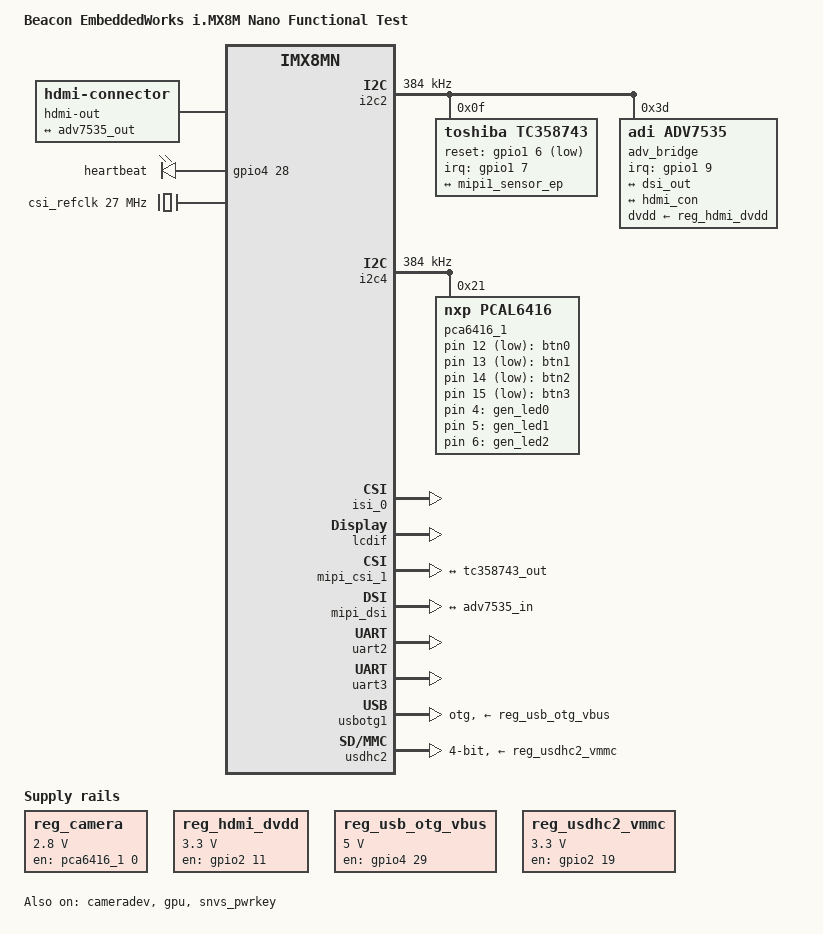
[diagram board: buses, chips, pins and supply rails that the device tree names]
// SPDX-License-Identifier: (GPL-2.0 OR MIT)
/*
 * Copyright 2021 Logic PD, Inc. DBA BeaconEmbeddedWorks
 */

/dts-v1/;

#include "imx8mn.dtsi"
#include "imx8mn-beacon-som.dtsi"

/ {
	model = "Beacon EmbeddedWorks i.MX8M Nano Functional Test";
	compatible = "beacon,imx8mn-beacon-kit", "fsl,imx8mn";

	chosen {
		stdout-path = &uart2;
	};

	gpio-keys {
		compatible = "gpio-keys";
		autorepeat;

		btn0 {
			label = "btn0";
			linux,code = <BTN_0>;
			gpios = <&pca6416_1 12 (GPIO_ACTIVE_LOW | GPIO_PULL_UP)>;
			wakeup-source;
		};

		btn1 {
			label = "btn1";
			linux,code = <BTN_1>;
			gpios = <&pca6416_1 13 (GPIO_ACTIVE_LOW | GPIO_PULL_UP)>;
			wakeup-source;
		};

		btn2 {
			label = "btn2";
			linux,code = <BTN_2>;
			gpios = <&pca6416_1 14 (GPIO_ACTIVE_LOW | GPIO_PULL_UP)>;
			wakeup-source;
		};

		btn3 {
			label = "btn3";
			linux,code = <BTN_3>;
			gpios = <&pca6416_1 15 (GPIO_ACTIVE_LOW | GPIO_PULL_UP)>;
			wakeup-source;
		};
	};

	hdmi-out {
		compatible = "hdmi-connector";
		type = "a";

		port {
			hdmi_con: endpoint {
				remote-endpoint = <&adv7535_out>;
			};
		};
	};

	leds {
		compatible = "gpio-leds";

		led0 {
			label = "gen_led0";
			gpios = <&pca6416_1 4 GPIO_ACTIVE_HIGH>;
			default-state = "off";
		};

		led1 {
			label = "gen_led1";
			gpios = <&pca6416_1 5 GPIO_ACTIVE_HIGH>;
			default-state = "off";
		};

		led2 {
			label = "gen_led2";
			gpios = <&pca6416_1 6 GPIO_ACTIVE_HIGH>;
			default-state = "off";
		};

		led3 {
			pinctrl-names = "default";
			pinctrl-0 = <&pinctrl_led3>;
			label = "heartbeat";
			gpios = <&gpio4 28 GPIO_ACTIVE_HIGH>;
			linux,default-trigger = "heartbeat";
		};
	};

	csi_refclk: csi-refclk {
		compatible = "fixed-clock";
		#clock-cells = <0>;
		clock-frequency = <27000000>;
	};

	reg_camera: regulator-camera {
		compatible = "regulator-fixed";
		regulator-name = "mipi_pwr_nen";
		regulator-min-microvolt = <2800000>;
		regulator-max-microvolt = <2800000>;
		gpio = <&pca6416_1 0 GPIO_ACTIVE_HIGH>;
		enable-active-high;
		startup-delay-us = <100000>;
		regulator-always-on;
	};

	reg_hdmi_dvdd: regulator-hdmi-dvdd {
		pinctrl-names = "default";
		pinctrl-0 = <&pinctrl_hdmi>;
		compatible = "regulator-fixed";
		regulator-name = "hdmi_pwr_en";
		regulator-min-microvolt = <3300000>;
		regulator-max-microvolt = <3300000>;
		gpio = <&gpio2 11 GPIO_ACTIVE_HIGH>;
		enable-active-high;
		startup-delay-us = <70000>;
	};

	reg_usb_otg_vbus: usb_otg_vbus {
		compatible = "regulator-fixed";
		pinctrl-names = "default";
		pinctrl-0 = <&pinctrl_reg_usb_otg>;
		regulator-name = "usb_otg_vbus";
		regulator-min-microvolt = <5000000>;
		regulator-max-microvolt = <5000000>;
		gpio = <&gpio4 29 GPIO_ACTIVE_HIGH>;
		enable-active-high;
	};

	reg_usdhc2_vmmc: regulator-usdhc2 {
		compatible = "regulator-fixed";
		regulator-name = "VSD_3V3";
		regulator-min-microvolt = <3300000>;
		regulator-max-microvolt = <3300000>;
		gpio = <&gpio2 19 GPIO_ACTIVE_HIGH>;
		enable-active-high;
		startup-delay-us = <100>;
		off-on-delay-us = <20000>;
		regulator-always-on;
	};
};

&cameradev {
	status = "okay";
};

&gpu {
	status = "okay";
};

&i2c2 {
	clock-frequency = <384000>;
	pinctrl-names = "default";
	pinctrl-0 = <&pinctrl_i2c2>;
	status = "okay";

	tc358743@f {
		compatible = "toshiba,tc358743";
		reg = <0x0f>;
		pinctrl-names = "default";
		pinctrl-0 = <&pinctrl_tc358743>;
		clocks = <&csi_refclk>;
		clock-names = "refclk";
		reset-gpios = <&gpio1 6 GPIO_ACTIVE_LOW>;
		interrupt-parent = <&gpio1>;
		interrupts = <7 IRQ_TYPE_LEVEL_HIGH>;

		port {
			tc358743_out: endpoint {
				remote-endpoint = <&mipi1_sensor_ep>;
				data-lanes = <1 2 3 4>;
				clock-lanes = <0>;
				clock-noncontinuous;
				link-frequencies = /bits/ 64 <297000000>;
			};
		};
	};

	adv_bridge: adv7535@3d {
		compatible = "adi,adv7535";
		reg = <0x3d>;
		adi,addr-cec = <0x3b>;
		adi,dsi-lanes = <4>;
		dvdd-supply = <&reg_hdmi_dvdd>;
		pinctrl-names = "default";
		pinctrl-0 = <&pinctrl_hdmi_bridge>;
		interrupt-parent = <&gpio1>;
		interrupts = <9 IRQ_TYPE_LEVEL_LOW>;
		#sound-dai-cells = <0>;
		status = "okay";

		ports {
			#address-cells = <1>;
			#size-cells = <0>;

			port@0 {
				reg = <0>;
				adv7535_in: endpoint {
					remote-endpoint = <&dsi_out>;
				};
			};

			port@1 {
				reg = <1>;
				adv7535_out: endpoint {
					remote-endpoint = <&hdmi_con>;
				};
			};
		};
	};
};

&i2c4 {
	clock-frequency = <384000>;
	pinctrl-names = "default";
	pinctrl-0 = <&pinctrl_i2c4>;
	status = "okay";

	pca6416_1: gpio@21 {
		compatible = "nxp,pcal6416";
		pinctrl-names = "default";
		pinctrl-0 = <&pinctrl_pcal6414>;
		reg = <0x21>;
		gpio-controller;
		#gpio-cells = <2>;
		/* interrupt-parent = <&gpio4>;
		interrupts = <27 IRQ_TYPE_LEVEL_LOW>; */
	};
};

&isi_0 {
	status = "okay";

	cap_device {
		status = "okay";
	};
};

&lcdif {
        status = "okay";
};

&mipi_csi_1 {
	#address-cells = <1>;
	#size-cells = <0>;
	status = "okay";
	port@0 {
		reg = <0>;
		mipi1_sensor_ep: endpoint {
			remote-endpoint = <&tc358743_out>;
			data-lanes = <4>;
			csis-hs-settle = <13>;
			csis-clk-settle = <0>;
			csis-wclk;
			clock-noncontinuous;
			link-frequencies = /bits/ 64 <297000000>;
		};
	};
};

&mipi_dsi {
	status = "okay";

	port@1 {
		reg = <1>;

		dsi_out: endpoint {
			remote-endpoint = <&adv7535_in>;
			attach-bridge;
		};
	};
};

&snvs_pwrkey {
	status = "okay";
};

&uart2 { /* console */
	pinctrl-names = "default";
	pinctrl-0 = <&pinctrl_uart2>;
	status = "okay";
};

&uart3 {
	pinctrl-names = "default";
	pinctrl-0 = <&pinctrl_uart3>;
	assigned-clocks = <&clk IMX8MN_CLK_UART3>;
	assigned-clock-parents = <&clk IMX8MN_SYS_PLL1_80M>;
	status = "okay";
};

&usbotg1 {
	vbus-supply = <&reg_usb_otg_vbus>;
	disable-over-current;
	dr_mode="otg";
	status = "okay";
};

&usdhc2 {
	pinctrl-names = "default"; /*, "state_100mhz", "state_200mhz"; */
	pinctrl-0 = <&pinctrl_usdhc2_200mhz>, <&pinctrl_usdhc2_gpio>;
	/* pinctrl-1 = <&pinctrl_usdhc2_100mhz>, <&pinctrl_usdhc2_gpio>;
	pinctrl-2 = <&pinctrl_usdhc2_200mhz>, <&pinctrl_usdhc2_gpio>; */
	bus-width = <4>;
	/* cd-gpios = <&gpio2 12 GPIO_ACTIVE_LOW>; */
	vmmc-supply = <&reg_usdhc2_vmmc>;
	status = "okay";
};

&iomuxc {
	pinctrl_espi2: espi2grp {
		fsl,pins = <
			MX8MN_IOMUXC_ECSPI2_SCLK_ECSPI2_SCLK		0x82
			MX8MN_IOMUXC_ECSPI2_MOSI_ECSPI2_MOSI		0x82
			MX8MN_IOMUXC_ECSPI2_MISO_ECSPI2_MISO		0x82
			MX8MN_IOMUXC_ECSPI2_SS0_GPIO5_IO13		0x41
		>;
	};

	pinctrl_hdmi: hdmigrp {
		fsl,pins = <
			MX8MN_IOMUXC_SD1_STROBE_GPIO2_IO11              0x16
		>;
	};

	pinctrl_hdmi_bridge: synaptics_dsx_iogrp {
		fsl,pins = <
			MX8MN_IOMUXC_GPIO1_IO09_GPIO1_IO9		0x19
		>;
	};

	pinctrl_i2c2: i2c2grp {
		fsl,pins = <
			MX8MN_IOMUXC_I2C2_SCL_I2C2_SCL		0x400001c3
			MX8MN_IOMUXC_I2C2_SDA_I2C2_SDA		0x400001c3
		>;
	};

	pinctrl_i2c4: i2c4grp {
		fsl,pins = <
			MX8MN_IOMUXC_I2C4_SCL_I2C4_SCL		0x400001c3
			MX8MN_IOMUXC_I2C4_SDA_I2C4_SDA		0x400001c3
		>;
	};

	pinctrl_led3: led3grp {
		fsl,pins = <
			MX8MN_IOMUXC_SAI3_RXFS_GPIO4_IO28	0x41
		>;
	};

	pinctrl_tc358743: ov5640grp {
		fsl,pins = <
			MX8MN_IOMUXC_GPIO1_IO07_GPIO1_IO7		0x19
			MX8MN_IOMUXC_GPIO1_IO06_GPIO1_IO6		0x19
			MX8MN_IOMUXC_GPIO1_IO14_CCMSRCGPCMIX_CLKO1	0x59
		>;
	};

	pinctrl_pcal6414: pcal6414-gpiogrp {
		fsl,pins = <
			MX8MN_IOMUXC_SAI2_MCLK_GPIO4_IO27		0x19
		>;
	};

	pinctrl_reg_usb_otg: reg_usb_otg {
		fsl,pins = <
			MX8MN_IOMUXC_SAI3_RXC_GPIO4_IO29     0x19
		>;
	};

	pinctrl_uart2: uart2grp {
		fsl,pins = <
			MX8MN_IOMUXC_UART2_RXD_UART2_DCE_RX	0x140
			MX8MN_IOMUXC_UART2_TXD_UART2_DCE_TX	0x140
		>;
	};

	pinctrl_uart3: uart3grp {
		fsl,pins = <
			MX8MN_IOMUXC_ECSPI1_SCLK_UART3_DCE_RX	0x40
			MX8MN_IOMUXC_ECSPI1_MOSI_UART3_DCE_TX	0x40
		>;
	};

	pinctrl_usdhc2_gpio: usdhc2gpiogrp {
		fsl,pins = <
			MX8MN_IOMUXC_SD2_CD_B_GPIO2_IO12	0x159
			MX8MN_IOMUXC_SD2_RESET_B_GPIO2_IO19	0x41
		>;
	};

	pinctrl_usdhc2: usdhc2grp {
		fsl,pins = <
			MX8MN_IOMUXC_SD2_CLK_USDHC2_CLK	0x190
			MX8MN_IOMUXC_SD2_CMD_USDHC2_CMD	0x1d0
			MX8MN_IOMUXC_SD2_DATA0_USDHC2_DATA0	0x1d0
			MX8MN_IOMUXC_SD2_DATA1_USDHC2_DATA1	0x1d0
			MX8MN_IOMUXC_SD2_DATA2_USDHC2_DATA2	0x1d0
			MX8MN_IOMUXC_SD2_DATA3_USDHC2_DATA3	0x1d0
			MX8MN_IOMUXC_GPIO1_IO04_USDHC2_VSELECT	0x1d0
		>;
	};

	pinctrl_usdhc2_100mhz: usdhc2-100mhzgrp {
		fsl,pins = <
			MX8MN_IOMUXC_SD2_CLK_USDHC2_CLK	0x194
			MX8MN_IOMUXC_SD2_CMD_USDHC2_CMD	0x1d4
			MX8MN_IOMUXC_SD2_DATA0_USDHC2_DATA0	0x1d4
			MX8MN_IOMUXC_SD2_DATA1_USDHC2_DATA1	0x1d4
			MX8MN_IOMUXC_SD2_DATA2_USDHC2_DATA2	0x1d4
			MX8MN_IOMUXC_SD2_DATA3_USDHC2_DATA3	0x1d4
			MX8MN_IOMUXC_GPIO1_IO04_USDHC2_VSELECT	0x1d0
		>;
	};

	pinctrl_usdhc2_200mhz: usdhc2-200mhzgrp {
		fsl,pins = <
			MX8MN_IOMUXC_SD2_CLK_USDHC2_CLK	0x196
			MX8MN_IOMUXC_SD2_CMD_USDHC2_CMD	0x1d6
			MX8MN_IOMUXC_SD2_DATA0_USDHC2_DATA0	0x1d6
			MX8MN_IOMUXC_SD2_DATA1_USDHC2_DATA1	0x1d6
			MX8MN_IOMUXC_SD2_DATA2_USDHC2_DATA2	0x1d6
			MX8MN_IOMUXC_SD2_DATA3_USDHC2_DATA3	0x1d6
			MX8MN_IOMUXC_GPIO1_IO04_USDHC2_VSELECT	0x1d0
		>;
	};
};
